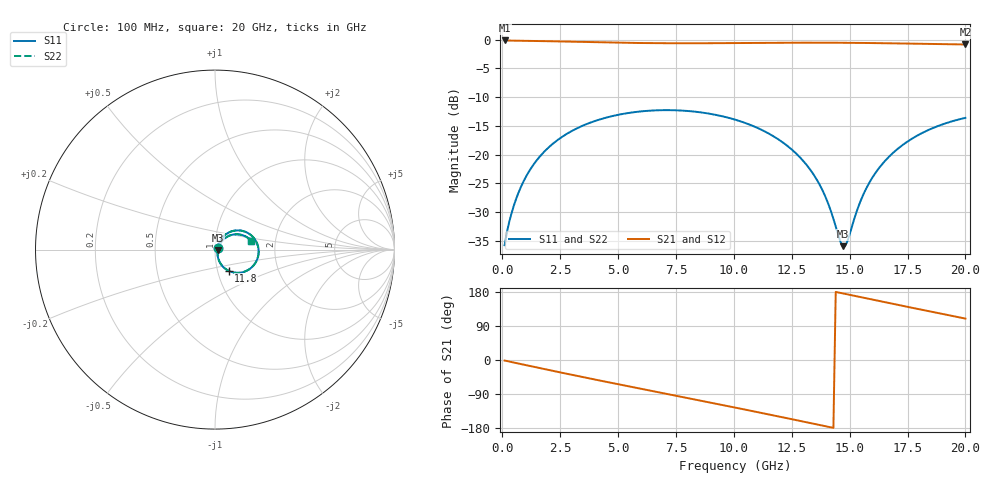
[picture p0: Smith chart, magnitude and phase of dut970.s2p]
! Touchstone file exported from HFSS 2026.1.0
!  File:  C:/ffzhzh/LocalFiles/Ansys_Project_Files/temp_train_TSV_RDL_970_1783285587_38820.aedt
!  Generated:  05:13:53 AM Jul  6, 2026
!  Design:  TSV_RDL
!  Project:  temp_train_TSV_RDL_970_1783285587_38820
! Variables:
!  h_bsmrdl = 4.56um
!  h_ox = 20um
!  h_rdl = 5um
!  h_sub = 54.97um
!  h_tmrdl = 5.18um
!  h_tsv = 54.97um
!  h_via = 3um
!  l_bsmrdl = 299.19um
!  l_sub = 4250.08um
!  l_tmrdl = 707.52um
!  m_sub = 200um
!  pitch = 39um
!  r_tsv = 14.81um
!  s_tmrdl = 10um
!  w_bsmrdl = 11.57um
!  w_sub = 500um
!  w_tmrdl = 29.24um
!  x_tsv_center1 = 722.14um
!  x_tsv_center2 = 1032.9um
!  x_tsv_center3 = 1769.66um
!  x_tsv_center4 = 2080.42um
!  x_tsv_center5 = 2817.18um
!  x_tsv_center6 = 3127.94um
# GHz S MA R 50.000000
! Terminal data exported
! Port[1] = TM_RDL1_1_T1
! Port[2] = TM_RDL5_1_T1
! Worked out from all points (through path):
!   200 points, 100 MHz to 20 GHz, reference 50 ohm
!   highest |S21| = -0.12 dB at 100 MHz (marker M1); lowest = -0.8 dB at 20 GHz (marker M2)
!   group delay of S21, straight-line fit = 34.6 ps
!   lowest |S11| = -36.0 dB at 14.7 GHz (marker M3), VSWR 1.03, Z = 51.5 - j0.51 ohm
!   |S11| at or under -10 dB: start of sweep to end of sweep
!   |S22| runs from -35.8 to -12.3 dB; largest |S21 - S12| = 1.4e-13
!   S11 on the Smith chart (normalised r, x): 100 MHz: 1.03, +0.02; 11.8 GHz: 1.13, -0.27; 20 GHz: 1.50, +0.15
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0.1  0.01622 27.2  0.9857 -1.4  0.9857 -1.4  0.01622 27.3
! Gamma 0 0 0 0
! Port Impedance 50 0 50 0
0.3  0.02595 46.5  0.9832 -4.1  0.9832 -4.1  0.02595 46.5
0.5  0.03597 54.3  0.9817 -6.7  0.9817 -6.7  0.03597 54.3
0.8  0.05196 58.7  0.9801 -10.7  0.9801 -10.7  0.05196 58.7
1.2  0.07375 58.7  0.9775 -15.9  0.9775 -15.9  0.07375 58.7
2.2  0.125 50.5  0.9688 -28.9  0.9688 -28.9  0.125 50.6
3.5  0.1793 36.1  0.9555 -45.3  0.9555 -45.3  0.1793 36.2
5.2  0.2258 16.6  0.9409 -66.3  0.9409 -66.3  0.2258 16.7
6.8  0.2433 -1.7  0.9332 -85.8  0.9332 -85.8  0.2433 -1.6
8.4  0.2353 -19.8  0.9318 -105.2  0.9318 -105.2  0.2353 -19.7
10.1  0.2001 -39.0  0.9354 -126.1  0.9354 -126.1  0.2001 -38.8
11.8  0.1407 -57.3  0.9406 -147.3  0.9406 -147.3  0.1407 -57.1
12.7  0.1017 -65.8  0.9424 -158.7  0.9424 -158.7  0.1017 -65.5
13.4  0.06907 -70.0  0.9429 -167.6  0.9429 -167.6  0.06914 -69.6
14  0.04081 -67.9  0.9425 -175.3  0.9425 -175.3  0.04095 -67.2
14.7  0.01592 -18.1  0.9411 175.8  0.9411 175.8  0.01635 -17.7
14.9  0.01745 14.1  0.9405 173.2  0.9405 173.2  0.01785 13.7
15.3  0.03174 43.9  0.939 168.1  0.939 168.1  0.03196 43.3
15.7  0.04983 50.3  0.9372 163.0  0.9372 163.0  0.04998 49.9
16.7  0.09572 47.1  0.9315 150.4  0.9315 150.4  0.09578 47.0
18.1  0.1529 33.9  0.9219 132.8  0.9219 132.8  0.1529 33.9
20  0.2087 13.3  0.9093 109.3  0.9093 109.3  0.2087 13.4
